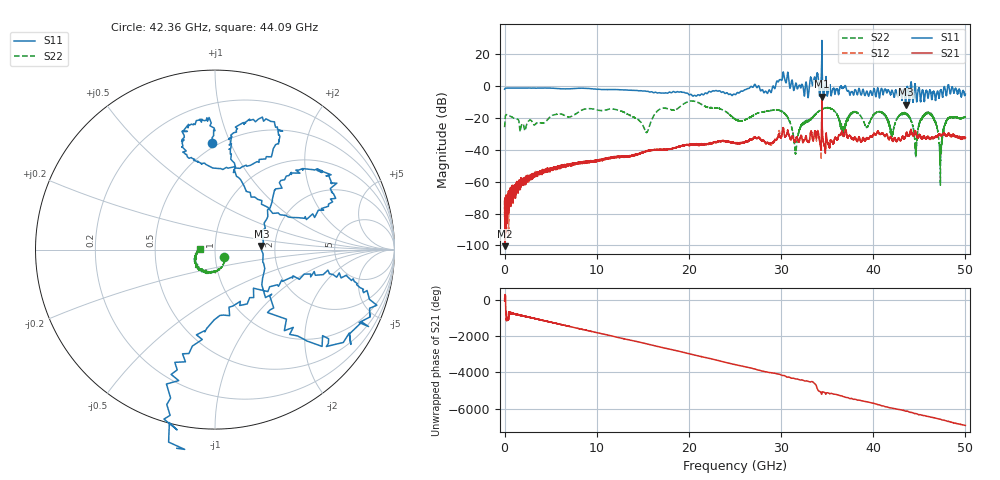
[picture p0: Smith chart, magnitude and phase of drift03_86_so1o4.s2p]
!Created with skrf (http://scikit-rf.org).
# Hz S RI R 50.0
!freq ReS11 ImS11 ReS21 ImS21 ReS12 ImS12 ReS22 ImS22
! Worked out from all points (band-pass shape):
!   10000 points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, 5.3 MHz to 50 GHz, reference 50 ohm
!   highest |S21| = -6.75 dB at 34.43 GHz (marker M1); lowest = -100.4 dB at 60.3 MHz (marker M2)
!   |S21| within 3 dB of the highest: 34.42742 GHz to 34.43538 GHz (7.964 MHz wide, 0.0231 % of centre)
!   lowest |S11| = -11.7 dB at 43.52 GHz (marker M3), VSWR 1.70, Z = 84.7 + j3.73 ohm
!   |S11| at or under -10 dB: 43.48397 GHz to 43.55211 GHz (68.14 MHz wide, 0.157 % of centre); 44.32272 GHz to 44.33093 GHz (8.214 MHz wide, 0.0185 % of centre); 44.70914 GHz to 44.71536 GHz (6.227 MHz wide, 0.0139 % of centre) (the widest 3 of 7)
!   |S22| runs from -62.2 to -9.4 dB; largest |S21 - S12| = 0.12
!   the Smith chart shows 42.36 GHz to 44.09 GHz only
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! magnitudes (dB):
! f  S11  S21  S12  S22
! 5.3 MHz  -2.1  -73.5  -73.9  -25.9
! 60.3 MHz  -1.6  -100.4  -77.3  -20.0
! 2.995 GHz  -1.4  -58.1  -57.7  -22.5
! 8.34 GHz  -1.5  -47.9  -48.1  -15.3
! 12.51 GHz  -2.5  -44.5  -44.3  -15.5
! 15.4 GHz  -3.4  -40.8  -40.7  -29.2
! 16.67 GHz  -4.4  -40.1  -40.0  -15.3
! 20.47 GHz  -6.4  -36.7  -36.8  -9.5
! 25.01 GHz  -5.5  -35.5  -35.8  -20.9
! 29.92 GHz  3.9  -32.5  -31.4  -15.6
! 31.59 GHz  1.4  -33.8  -33.9  -42.4
! 33.34 GHz  2.6  -30.1  -30.6  -20.2
! 34.43 GHz  28.4  -6.7  -8.4  -14.4
! 36.7 GHz  -1.4  -30.2  -30.1  -30.3
! 37.95 GHz  -3.8  -32.6  -32.6  -16.1
! 41.67 GHz  -2.8  -33.3  -33.3  -23.0
! 43.52 GHz  -11.7  -31.4  -31.5  -17.9
! 44.62 GHz  -2.4  -29.1  -29.4  -43.1
! 46.22 GHz  -3.8  -33.0  -33.0  -17.7
! 47.29 GHz  -2.9  -30.9  -30.7  -49.6
! 48.1 GHz  0.0  -30.2  -30.4  -20.1
! 50 GHz  -5.2  -32.5  -32.2  -19.4
